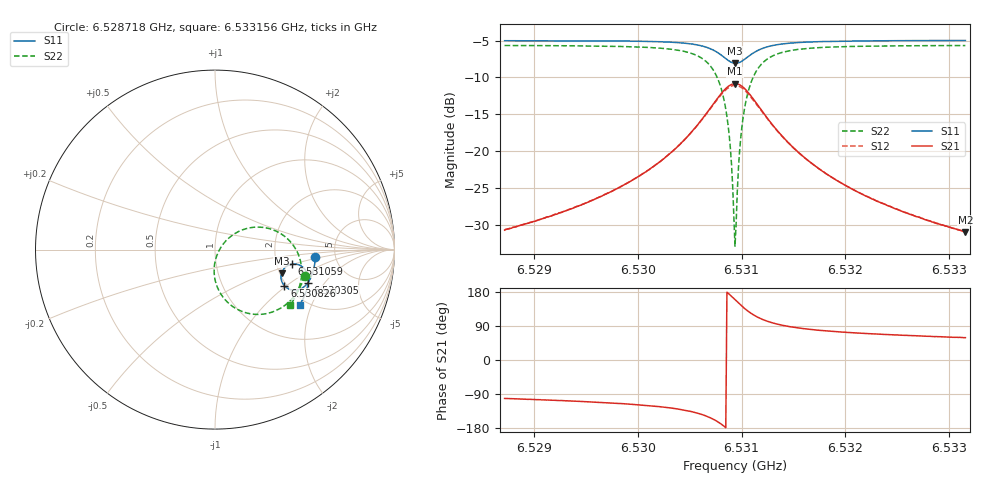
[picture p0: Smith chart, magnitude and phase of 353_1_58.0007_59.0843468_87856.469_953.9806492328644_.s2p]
#  HZ  S  RI  R  50.00
! Rohde & Schwarz Vector Network Analyzer
! Rohde-Schwarz,ZNB20-2Port,1311601062101988,3.16
! Created: UTC 3/21/2024, 1:06:05 AM
! freq[Hz]  re:S11  im:S11  re:S21  im:S21  re:S12  im:S12  re:S22  im:S22
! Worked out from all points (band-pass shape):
!   401 points, 6.528718 GHz to 6.533156 GHz, reference 50 ohm
!   highest |S21| = -10.85 dB at 6.530937 GHz (marker M1); lowest = -31.0 dB at 6.533156 GHz (marker M2)
!   |S21| within 3 dB of the highest: 6.530717 GHz to 6.53116 GHz (443.6 kHz wide, 0.00679 % of centre)
!   lowest |S11| = -8.1 dB at 6.530937 GHz (marker M3), VSWR 2.30, Z = 102 - j32.1 ohm
!   |S11| at or under -10 dB: nowhere
!   |S22| runs from -32.9 to -5.7 dB; largest |S21 - S12| = 0.011
!   S11 on the Smith chart (normalised r, x): 6.528718 GHz: 3.50, -0.43; 6.530305 GHz: 2.60, -1.39; 6.530826 GHz: 1.94, -0.97; 6.531059 GHz: 2.43, -0.49; 6.533156 GHz: 1.82, -1.65
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6.528718e9  0.5598 -0.042  -0.00575 -0.0284  -0.00635 -0.0284  0.5002 -0.1453
6.5294613e9  0.5509 -0.1029  -0.0145 -0.0406  -0.0153 -0.0404  0.472 -0.2125
6.5302047e9  0.5244 -0.1744  -0.0455 -0.07  -0.0474 -0.069  0.3961 -0.3055
6.5303045e9  0.5167 -0.1859  -0.0562 -0.077  -0.0584 -0.0753  0.3732 -0.3216
6.5305042e9  0.4919 -0.2104  -0.0932 -0.0922  -0.0959 -0.089  0.2995 -0.3536
6.5306596e9  0.4544 -0.2256  -0.1516 -0.0951  -0.1537 -0.0894  0.1918 -0.3566
6.5307594e9  0.4158 -0.2215  -0.2114 -0.0722  -0.2111 -0.0638  0.0893 -0.3099
6.530826e9  0.387 -0.2021  -0.2543 -0.0286  -0.2503 -0.0195  0.0224 -0.2299
6.5308593e9  0.3754 -0.1851  -0.27 0.00496  -0.2639 0.0134  0.00101 -0.1715
6.5308815e9  0.3704 -0.1713  -0.2761 0.0309  -0.2685 0.0385  -0.00476 -0.1271
6.5309258e9  0.3689 -0.1405  -0.2725 0.0878  -0.2631 0.0922  0.00977 -0.0342
6.5309369e9  0.3706 -0.1327  -0.2682 0.1016  -0.2585 0.1052  0.0192 -0.0118
6.530948e9  0.3732 -0.1252  -0.2623 0.1151  -0.2527 0.118  0.0309 0.00944
6.5309591e9  0.3765 -0.1182  -0.2552 0.128  -0.2457 0.1299  0.0445 0.0293
6.5309813e9  0.3855 -0.1053  -0.2378 0.1508  -0.2287 0.151  0.0768 0.0642
6.5310035e9  0.3965 -0.0949  -0.2171 0.1691  -0.2088 0.1683  0.1138 0.0912
6.531059e9  0.4278 -0.0813  -0.1604 0.1945  -0.1546 0.1918  0.2121 0.1242
6.5311366e9  0.4662 -0.0845  -0.0927 0.1929  -0.0897 0.1903  0.3257 0.109
6.5312476e9  0.4986 -0.1071  -0.0357 0.1633  -0.0341 0.1619  0.4187 0.0455
6.5316803e9  0.5199 -0.1827  0.014 0.0807  0.0148 0.0805  0.4829 -0.1306
6.5324236e9  0.4996 -0.2556  0.0166 0.0387  0.0172 0.0385  0.4552 -0.2457
6.5331558e9  0.4713 -0.3089  0.0145 0.0241  0.015 0.024  0.4197 -0.308
